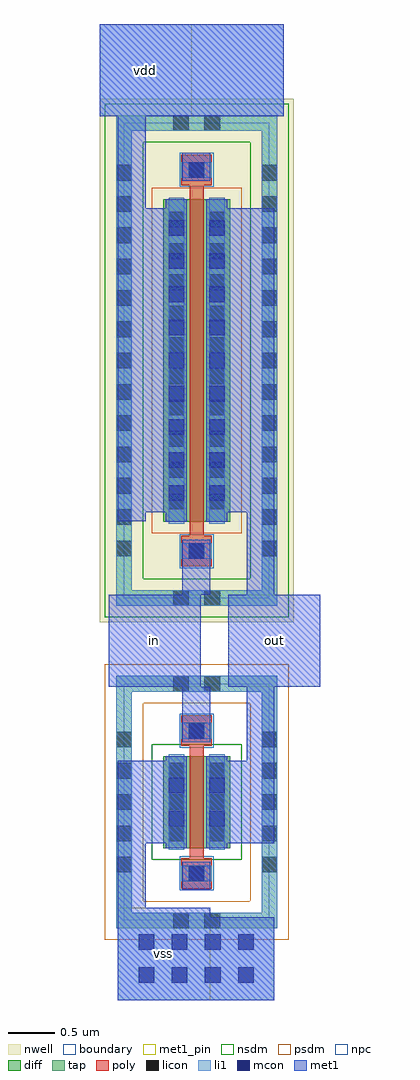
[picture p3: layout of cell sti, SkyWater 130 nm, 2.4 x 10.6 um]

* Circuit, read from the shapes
.subckt sti in out vdd vss
XM1 out in vss vss sky130_fd_pr__nfet_01v8 w=1 l=0.15
XM2 out in vdd n1 sky130_fd_pr__pfet_01v8 w=3.5 l=0.15
.ends

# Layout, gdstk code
import gdstk
lib = gdstk.Library(unit=1e-6, precision=1e-09)
def R(c, l, rs):  # rectangles x0, y0, x1, y1
    for r in rs: c.add(gdstk.rectangle(r[:2], r[2:], *l))
def A(c, l, x, y, w, h, nx, ny, dx, dy):  # array of equal rectangles
    R(c, l, [(x+i*dx, y+j*dy, x+i*dx+w, y+j*dy+h) for i in range(nx) for j in range(ny)])
nwell = (64, 20)
diff = (65, 20)
tap = (65, 44)
poly = (66, 20)
licon = (66, 44)
li1 = (67, 20)
mcon = (67, 44)
met1_pin = (68, 16)
met1 = (68, 20)
nsdm = (93, 44)
psdm = (94, 20)
npc = (95, 20)
boundary = (235, 4)

sky130_fd_pr__pfet_01v8_ = lib.new_cell('sky130_fd_pr__pfet_01v8_XJPNAL')
R(sky130_fd_pr__pfet_01v8_, nwell, [(-1.055,-2.845,1.055,2.845)])
R(sky130_fd_pr__pfet_01v8_, diff, [(-0.365,-1.75,0.365,1.75)])
R(sky130_fd_pr__pfet_01v8_, tap, [(-0.875,-2.665,0.875,-2.495), (-0.875,-2.495,-0.705,2.495), (0.705,-2.495,0.875,2.495), (-0.875,2.495,0.875,2.665)])
R(sky130_fd_pr__pfet_01v8_, poly, [(-0.165,-2.235,0.165,-1.905), (-0.075,-1.905,0.075,1.905), (-0.165,1.905,0.165,2.235)])
A(sky130_fd_pr__pfet_01v8_, licon, -0.875, -2.125, 0.17, 0.17, 1, 13, 0, 0.34)
A(sky130_fd_pr__pfet_01v8_, licon, 0.705, -2.125, 0.17, 0.17, 1, 13, 0, 0.34)
A(sky130_fd_pr__pfet_01v8_, licon, -0.305, -1.615, 0.17, 0.17, 1, 10, 0, 0.34)
A(sky130_fd_pr__pfet_01v8_, licon, 0.135, -1.615, 0.17, 0.17, 1, 10, 0, 0.34)
R(sky130_fd_pr__pfet_01v8_, licon, [(-0.255,-2.665,-0.085,-2.495), (0.085,-2.665,0.255,-2.495), (-0.085,-2.155,0.085,-1.985), (-0.085,1.985,0.085,2.155), (-0.255,2.495,-0.085,2.665), (0.085,2.495,0.255,2.665)])
R(sky130_fd_pr__pfet_01v8_, li1, [(-0.875,-2.665,0.875,-2.495), (-0.875,-2.495,-0.705,2.495), (0.705,-2.495,0.875,2.495), (-0.165,-2.155,0.165,-1.985), (-0.305,-1.77,-0.135,1.77), (0.135,-1.77,0.305,1.77), (-0.165,1.985,0.165,2.155), (-0.875,2.495,0.875,2.665)])
A(sky130_fd_pr__pfet_01v8_, mcon, -0.305, -1.525, 0.17, 0.17, 1, 9, 0, 0.36)
A(sky130_fd_pr__pfet_01v8_, mcon, 0.135, -1.525, 0.17, 0.17, 1, 9, 0, 0.36)
R(sky130_fd_pr__pfet_01v8_, mcon, [(-0.085,-2.155,0.085,-1.985), (-0.085,1.985,0.085,2.155)])
R(sky130_fd_pr__pfet_01v8_, met1, [(-0.145,-2.185,0.145,-1.955), (-0.335,-1.75,-0.105,1.75), (0.105,-1.75,0.335,1.75), (-0.145,1.955,0.145,2.185)])
R(sky130_fd_pr__pfet_01v8_, nsdm, [(-1,-2.79,1,-2.37), (-1,-2.37,-0.58,2.37), (0.58,-2.37,1,2.37), (-1,2.37,1,2.79)])
R(sky130_fd_pr__pfet_01v8_, psdm, [(-0.49,-1.875,0.49,1.875)])
R(sky130_fd_pr__pfet_01v8_, npc, [(-0.185,-2.255,0.185,-1.885), (-0.185,1.885,0.185,2.255)])
R(sky130_fd_pr__pfet_01v8_, boundary, [(-0.79,-2.58,0.79,2.58)])

sky130_fd_pr__nfet_01v8_ = lib.new_cell('sky130_fd_pr__nfet_01v8_648S5X')
R(sky130_fd_pr__nfet_01v8_, diff, [(-0.365,-0.5,0.365,0.5)])
R(sky130_fd_pr__nfet_01v8_, tap, [(-0.875,-1.37,0.875,-1.2), (-0.875,-1.2,-0.705,1.2), (0.705,-1.2,0.875,1.2), (-0.875,1.2,0.875,1.37)])
R(sky130_fd_pr__nfet_01v8_, poly, [(-0.165,-0.94,0.165,-0.61), (-0.075,-0.61,0.075,0.61), (-0.165,0.61,0.165,0.94)])
A(sky130_fd_pr__nfet_01v8_, licon, -0.875, -0.765, 0.17, 0.17, 1, 5, 0, 0.34)
A(sky130_fd_pr__nfet_01v8_, licon, 0.705, -0.765, 0.17, 0.17, 1, 5, 0, 0.34)
A(sky130_fd_pr__nfet_01v8_, licon, -0.305, -0.425, 0.17, 0.17, 1, 3, 0, 0.34)
A(sky130_fd_pr__nfet_01v8_, licon, 0.135, -0.425, 0.17, 0.17, 1, 3, 0, 0.34)
R(sky130_fd_pr__nfet_01v8_, licon, [(-0.255,-1.37,-0.085,-1.2), (0.085,-1.37,0.255,-1.2), (-0.085,-0.86,0.085,-0.69), (-0.085,0.69,0.085,0.86), (-0.255,1.2,-0.085,1.37), (0.085,1.2,0.255,1.37)])
R(sky130_fd_pr__nfet_01v8_, li1, [(-0.875,-1.37,0.875,-1.2), (-0.875,-1.2,-0.705,1.2), (0.705,-1.2,0.875,1.2), (-0.165,-0.86,0.165,-0.69), (-0.305,-0.52,-0.135,0.52), (0.135,-0.52,0.305,0.52), (-0.165,0.69,0.165,0.86), (-0.875,1.2,0.875,1.37)])
R(sky130_fd_pr__nfet_01v8_, mcon, [(-0.085,-0.86,0.085,-0.69), (-0.305,-0.265,-0.135,-0.095), (0.135,-0.265,0.305,-0.095), (-0.305,0.095,-0.135,0.265), (0.135,0.095,0.305,0.265), (-0.085,0.69,0.085,0.86)])
R(sky130_fd_pr__nfet_01v8_, met1, [(-0.145,-0.89,0.145,-0.66), (-0.335,-0.5,-0.105,0.5), (0.105,-0.5,0.335,0.5), (-0.145,0.66,0.145,0.89)])
R(sky130_fd_pr__nfet_01v8_, nsdm, [(-0.49,-0.625,0.49,0.625)])
R(sky130_fd_pr__nfet_01v8_, psdm, [(-1,-1.495,1,-1.075), (-1,-1.075,-0.58,1.075), (0.58,-1.075,1,1.075), (-1,1.075,1,1.495)])
R(sky130_fd_pr__nfet_01v8_, npc, [(-0.185,-0.96,0.185,-0.59), (-0.185,0.59,0.185,0.96)])
R(sky130_fd_pr__nfet_01v8_, boundary, [(-0.79,-1.285,0.79,1.285)])

sti = lib.new_cell('sti')
R(sti, li1, [(4.2,-4.1,5.9,-3.2), (4,5.5,6,6.5)])
A(sti, mcon, 4.425, -3.915, 0.17, 0.17, 4, 2, 0.36, 0.36)
R(sti, met1_pin, [(4.2,-4.1,5.2,-3.1), (4.1,-0.7,5.1,0.3), (5.4,-0.7,6.4,0.3), (4,5.5,5,6.5)])
R(sti, met1, [(4.2,-4.1,5.9,-3.2), (4.2,-3.2,5.2,-3.1), (4.2,-3.1,4.5,-2.4), (4.9,-2.9,5.2,-2.6), (4.2,-2.4,4.9,-1.5), (5.2,-2.4,5.9,-1.5), (5.6,-1.5,5.9,-0.7), (4.9,-1.3,5.2,-0.7), (4.1,-0.7,5.1,0.3), (5.4,-0.7,6.4,0.3), (4.9,0.3,5.2,0.9), (5.6,0.3,5.9,1.2), (4.2,1.1,4.5,1.2), (4.2,1.2,4.9,4.5), (5.2,1.2,5.9,4.5), (4.2,4.5,4.5,5.5), (4.9,4.8,5.2,5.1), (4,5.5,6,6.5)])
sti.add(gdstk.Reference(sky130_fd_pr__pfet_01v8_, (5.055,2.845)))
sti.add(gdstk.Reference(sky130_fd_pr__nfet_01v8_, (5.055,-1.95)))
sti.add(gdstk.Label('vdd', (4.5,6), layer=68, texttype=5))
sti.add(gdstk.Label('in', (4.6,-0.2), layer=68, texttype=5))
sti.add(gdstk.Label('out', (5.9,-0.2), layer=68, texttype=5))
sti.add(gdstk.Label('vss', (4.7,-3.6), layer=68, texttype=5))

lib.write_gds('sti.gds')
